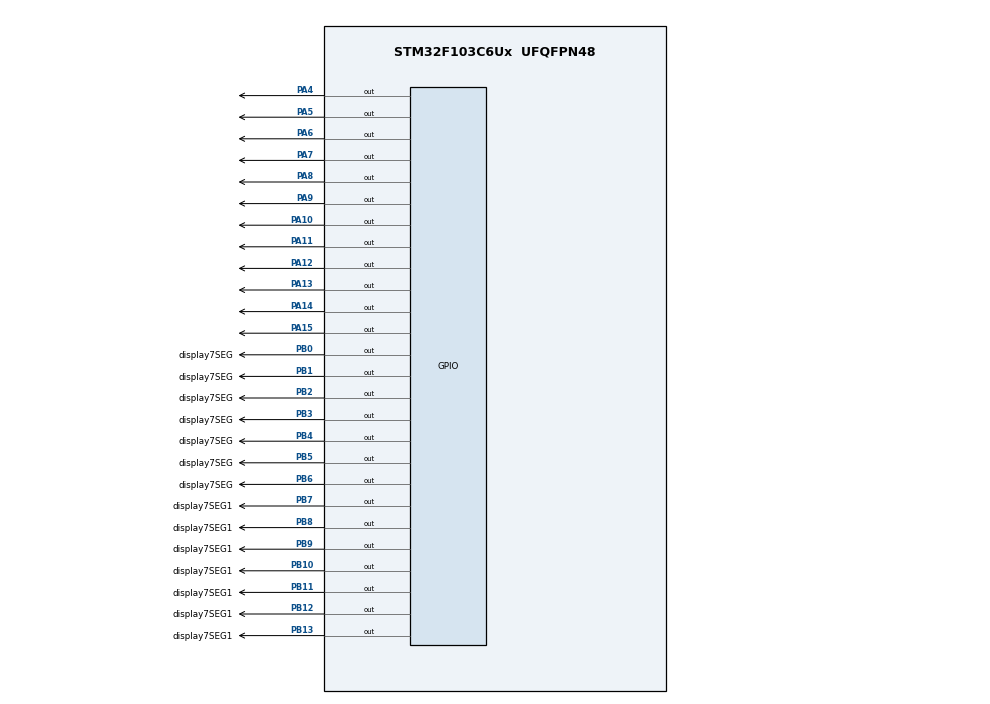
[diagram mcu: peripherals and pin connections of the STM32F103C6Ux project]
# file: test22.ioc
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Mcu.Family=STM32F1
Mcu.Name=STM32F103C6Ux
Mcu.Package=UFQFPN48
NVIC.PriorityGroup=NVIC_PRIORITYGROUP_4
NVIC.TIM2_IRQn=true\:0\:0\:false\:false\:true\:true\:true
PA10.Signal=GPIO_Output
PA11.Signal=GPIO_Output
PA12.Signal=GPIO_Output
PA13.Signal=GPIO_Output
PA14.Signal=GPIO_Output
PA15.Signal=GPIO_Output
PA4.Signal=GPIO_Output
PA5.Signal=GPIO_Output
PA6.Signal=GPIO_Output
PA7.Signal=GPIO_Output
PA8.Signal=GPIO_Output
PA9.Signal=GPIO_Output
PB0.GPIO_Label=display7SEG
PB0.Signal=GPIO_Output
PB1.GPIO_Label=display7SEG
PB1.Signal=GPIO_Output
PB10.GPIO_Label=display7SEG1
PB10.Signal=GPIO_Output
PB11.GPIO_Label=display7SEG1
PB11.Signal=GPIO_Output
PB12.GPIO_Label=display7SEG1
PB12.Signal=GPIO_Output
PB13.GPIO_Label=display7SEG1
PB13.Signal=GPIO_Output
PB2.GPIO_Label=display7SEG
PB2.Signal=GPIO_Output
PB3.GPIO_Label=display7SEG
PB3.Signal=GPIO_Output
PB4.GPIO_Label=display7SEG
PB4.Signal=GPIO_Output
PB5.GPIO_Label=display7SEG
PB5.Signal=GPIO_Output
PB6.GPIO_Label=display7SEG
PB6.Signal=GPIO_Output
PB7.GPIO_Label=display7SEG1
PB7.Signal=GPIO_Output
PB8.GPIO_Label=display7SEG1
PB8.Signal=GPIO_Output
PB9.GPIO_Label=display7SEG1
PB9.Signal=GPIO_Output
ProjectManager.HeapSize=0x200
ProjectManager.StackSize=0x400
ProjectManager.TargetToolchain=STM32CubeIDE
RCC.APB1Freq_Value=8000000
RCC.APB2Freq_Value=8000000
TIM2.Period=9
TIM2.Prescaler=7999
VP_SYS_VS_ND.Mode=No_Debug
VP_TIM2_VS_ClockSourceINT.Mode=Internal
board=custom

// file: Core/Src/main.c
/* USER CODE BEGIN Header */
/**
  ******************************************************************************
  * @file           : main.c
  * @brief          : Main program body
  ******************************************************************************
  * @attention
  *
  * <h2><center>&copy; Copyright (c) 2024 STMicroelectronics.
  * All rights reserved.</center></h2>
  *
  * This software component is licensed by ST under BSD 3-Clause license,
  * the "License"; You may not use this file except in compliance with the
  * License. You may obtain a copy of the License at:
  *                        opensource.org/licenses/BSD-3-Clause
  *
  ******************************************************************************
  */
/* USER CODE END Header */
#include "main.h"

/* USER CODE BEGIN Includes */
#include "software_timer.h"
/* USER CODE END Includes */

TIM_HandleTypeDef htim2;

void SystemClock_Config(void);
static void MX_GPIO_Init(void);
static void MX_TIM2_Init(void);

/* USER CODE BEGIN 0 */
int counter = 100;
void HAL_TIM_PeriodElapsedCallback ( TIM_HandleTypeDef * htim )
{
	timerRun();
}

// Global variables for current hour, minute, and second
int currentHour = 0;
int currentMinute = 0;
int currentSecond = 0;

void clearAllClock() {
	HAL_GPIO_WritePin(GPIOA, GPIO_PIN_4|GPIO_PIN_5|GPIO_PIN_6|GPIO_PIN_7
						    |GPIO_PIN_8|GPIO_PIN_9|GPIO_PIN_10|GPIO_PIN_11
						    |GPIO_PIN_12|GPIO_PIN_13|GPIO_PIN_14|GPIO_PIN_15, GPIO_PIN_SET);
}

void setHour(int hour) {
    uint16_t pin = GPIO_PIN_4 << (hour % 12);
    HAL_GPIO_WritePin(GPIOA, pin, GPIO_PIN_RESET);
}

void setMinute(int minute) {
    uint16_t pin = GPIO_PIN_4 << ((minute / 5) % 12);
    HAL_GPIO_WritePin(GPIOA, pin, GPIO_PIN_RESET);
}

void setSecond(int second) {
    uint16_t pin = GPIO_PIN_4 << ((second / 5) % 12);
    HAL_GPIO_WritePin(GPIOA, pin, GPIO_PIN_RESET);
}

void clearNumberOnClock(int num) {
	uint16_t pin = GPIO_PIN_4 << (num % 12);
	HAL_GPIO_WritePin(GPIOA, pin, GPIO_PIN_SET);
}

// Function to update the clock LEDs
void updateClock() {
    // Update second LED
    currentSecond++;
    if (currentSecond >= 60) {
        currentSecond = 0;
        currentMinute++;

    }

    if (currentMinute >= 60) {
		currentMinute = 0;
		currentHour++;
	}

    if (currentHour >= 24) {
		currentHour = 0;
	}

    // Update all clock LEDs
    clearAllClock();
    setHour(currentHour);
    setMinute(currentMinute);
    setSecond(currentSecond);
}

/* USER CODE END 0 */

int main(void)
{
  /* USER CODE BEGIN 1 */
	setTimer(0, 10); // 100ms
	// Set initial hour, minute, and second
	currentHour = 15;    // Example initial hour
	currentMinute = 58;  // Example initial minute
	currentSecond = 0;   // Example initial second
  /* USER CODE END 1 */

  /* MCU Configuration--------------------------------------------------------*/

  /* Reset of all peripherals, Initializes the Flash interface and the Systick. */
  HAL_Init();

  /* Configure the system clock */
  SystemClock_Config();

  /* Initialize all configured peripherals */
  MX_GPIO_Init();
  MX_TIM2_Init();
  /* USER CODE BEGIN 2 */
  HAL_TIM_Base_Start_IT(&htim2);
  /* USER CODE END 2 */

  /* Infinite loop */
  /* USER CODE BEGIN WHILE */
  while (1)
  {
	  if(isTimerExpired(0) == 1)
	  {
		  updateClock();
		  setTimer(0, 10);

	  }
    /* USER CODE END WHILE */

  }
}

void SystemClock_Config(void)
{
  RCC_OscInitTypeDef RCC_OscInitStruct = {0};
  RCC_ClkInitTypeDef RCC_ClkInitStruct = {0};

  /** Initializes the RCC Oscillators according to the specified parameters
  * in the RCC_OscInitTypeDef structure.
  */
  RCC_OscInitStruct.OscillatorType = RCC_OSCILLATORTYPE_HSI;
  RCC_OscInitStruct.HSIState = RCC_HSI_ON;
  RCC_OscInitStruct.HSICalibrationValue = RCC_HSICALIBRATION_DEFAULT;
  RCC_OscInitStruct.PLL.PLLState = RCC_PLL_NONE;
  if (HAL_RCC_OscConfig(&RCC_OscInitStruct) != HAL_OK)
  {
    Error_Handler();
  }
  /** Initializes the CPU, AHB and APB buses clocks
  */
  RCC_ClkInitStruct.ClockType = RCC_CLOCKTYPE_HCLK|RCC_CLOCKTYPE_SYSCLK
                              |RCC_CLOCKTYPE_PCLK1|RCC_CLOCKTYPE_PCLK2;
  RCC_ClkInitStruct.SYSCLKSource = RCC_SYSCLKSOURCE_HSI;
  RCC_ClkInitStruct.AHBCLKDivider = RCC_SYSCLK_DIV1;
  RCC_ClkInitStruct.APB1CLKDivider = RCC_HCLK_DIV1;
  RCC_ClkInitStruct.APB2CLKDivider = RCC_HCLK_DIV1;

  if (HAL_RCC_ClockConfig(&RCC_ClkInitStruct, FLASH_LATENCY_0) != HAL_OK)
  {
    Error_Handler();
  }
}

static void MX_TIM2_Init(void)
{

  TIM_ClockConfigTypeDef sClockSourceConfig = {0};
  TIM_MasterConfigTypeDef sMasterConfig = {0};

  htim2.Instance = TIM2;
  htim2.Init.Prescaler = 7999;
  htim2.Init.CounterMode = TIM_COUNTERMODE_UP;
  htim2.Init.Period = 9;
  htim2.Init.ClockDivision = TIM_CLOCKDIVISION_DIV1;
  htim2.Init.AutoReloadPreload = TIM_AUTORELOAD_PRELOAD_DISABLE;
  if (HAL_TIM_Base_Init(&htim2) != HAL_OK)
  {
    Error_Handler();
  }
  sClockSourceConfig.ClockSource = TIM_CLOCKSOURCE_INTERNAL;
  if (HAL_TIM_ConfigClockSource(&htim2, &sClockSourceConfig) != HAL_OK)
  {
    Error_Handler();
  }
  sMasterConfig.MasterOutputTrigger = TIM_TRGO_RESET;
  sMasterConfig.MasterSlaveMode = TIM_MASTERSLAVEMODE_DISABLE;
  if (HAL_TIMEx_MasterConfigSynchronization(&htim2, &sMasterConfig) != HAL_OK)
  {
    Error_Handler();
  }

}

static void MX_GPIO_Init(void)
{
  GPIO_InitTypeDef GPIO_InitStruct = {0};

  /* GPIO Ports Clock Enable */
  __HAL_RCC_GPIOA_CLK_ENABLE();
  __HAL_RCC_GPIOB_CLK_ENABLE();

  /*Configure GPIO pin Output Level */
  HAL_GPIO_WritePin(GPIOA, GPIO_PIN_4|GPIO_PIN_5|GPIO_PIN_6|GPIO_PIN_7
                          |GPIO_PIN_8|GPIO_PIN_9|GPIO_PIN_10|GPIO_PIN_11
                          |GPIO_PIN_12|GPIO_PIN_13|GPIO_PIN_14|GPIO_PIN_15, GPIO_PIN_RESET);

  /*Configure GPIO pin Output Level */
  HAL_GPIO_WritePin(GPIOB, display7SEG_Pin|display7SEGB1_Pin|display7SEGB2_Pin|display7SEG1_Pin
                          |display7SEG1B11_Pin|display7SEG1B12_Pin|display7SEG1B13_Pin|display7SEGB3_Pin
                          |display7SEGB4_Pin|display7SEGB5_Pin|display7SEGB6_Pin|display7SEG1B7_Pin
                          |display7SEG1B8_Pin|display7SEG1B9_Pin, GPIO_PIN_RESET);

  /*Configure GPIO pins : PA4 PA5 PA6 PA7
                           PA8 PA9 PA10 PA11
                           PA12 PA13 PA14 PA15 */
  GPIO_InitStruct.Pin = GPIO_PIN_4|GPIO_PIN_5|GPIO_PIN_6|GPIO_PIN_7
                          |GPIO_PIN_8|GPIO_PIN_9|GPIO_PIN_10|GPIO_PIN_11
                          |GPIO_PIN_12|GPIO_PIN_13|GPIO_PIN_14|GPIO_PIN_15;
  GPIO_InitStruct.Mode = GPIO_MODE_OUTPUT_PP;
  GPIO_InitStruct.Pull = GPIO_NOPULL;
  GPIO_InitStruct.Speed = GPIO_SPEED_FREQ_LOW;
  HAL_GPIO_Init(GPIOA, &GPIO_InitStruct);

  /*Configure GPIO pins : display7SEG_Pin display7SEGB1_Pin display7SEGB2_Pin display7SEG1_Pin
                           display7SEG1B11_Pin display7SEG1B12_Pin display7SEG1B13_Pin display7SEGB3_Pin
                           display7SEGB4_Pin display7SEGB5_Pin display7SEGB6_Pin display7SEG1B7_Pin
                           display7SEG1B8_Pin display7SEG1B9_Pin */
  GPIO_InitStruct.Pin = display7SEG_Pin|display7SEGB1_Pin|display7SEGB2_Pin|display7SEG1_Pin
                          |display7SEG1B11_Pin|display7SEG1B12_Pin|display7SEG1B13_Pin|display7SEGB3_Pin
                          |display7SEGB4_Pin|display7SEGB5_Pin|display7SEGB6_Pin|display7SEG1B7_Pin
                          |display7SEG1B8_Pin|display7SEG1B9_Pin;
  GPIO_InitStruct.Mode = GPIO_MODE_OUTPUT_PP;
  GPIO_InitStruct.Pull = GPIO_NOPULL;
  GPIO_InitStruct.Speed = GPIO_SPEED_FREQ_LOW;
  HAL_GPIO_Init(GPIOB, &GPIO_InitStruct);

}

void Error_Handler(void)
{
  __disable_irq();
  while (1)
  {
  }
}

/************************ (C) COPYRIGHT STMicroelectronics *****END OF FILE****/
